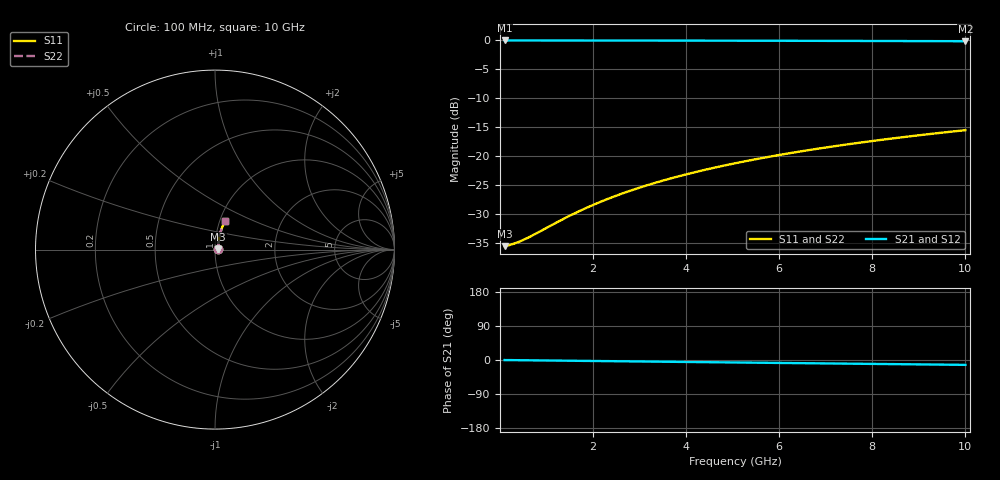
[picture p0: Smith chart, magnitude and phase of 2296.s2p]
# Hz S RI R 50.00
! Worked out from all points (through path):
!   100 points, 100 MHz to 10 GHz, reference 50 ohm
!   highest |S21| = -0.15 dB at 100 MHz (marker M1); lowest = -0.3 dB at 10 GHz (marker M2)
!   group delay of S21, straight-line fit = 3.57 ps
!   lowest |S11| = -35.6 dB at 100 MHz (marker M3), VSWR 1.03, Z = 51.7 + j0.17 ohm
!   |S11| at or under -10 dB: start of sweep to end of sweep
!   |S22| runs from -35.6 to -15.6 dB; largest |S21 - S12| = 0
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1e8  0.0166 0.00164  0.9834 -0.00222  0.9834 -0.00222  0.0166 0.00164
2e8  0.0167 0.00328  0.9833 -0.00444  0.9833 -0.00444  0.0167 0.00328
3e8  0.0168 0.00492  0.9832 -0.00666  0.9832 -0.00666  0.0168 0.00492
4e8  0.0169 0.00656  0.9831 -0.00888  0.9831 -0.00888  0.0169 0.00656
5e8  0.017 0.0082  0.983 -0.0111  0.983 -0.0111  0.017 0.0082
7e8  0.0172 0.0115  0.9828 -0.0155  0.9828 -0.0155  0.0172 0.0115
1.4e9  0.0179 0.0229  0.982 -0.031  0.982 -0.031  0.0179 0.0229
1.8e9  0.0185 0.0295  0.9814 -0.0399  0.9814 -0.0399  0.0185 0.0295
2.2e9  0.0192 0.036  0.9807 -0.0487  0.9807 -0.0487  0.0192 0.036
2.6e9  0.0199 0.0425  0.9799 -0.0575  0.9799 -0.0575  0.0199 0.0425
3e9  0.0208 0.0489  0.979 -0.0663  0.979 -0.0663  0.0208 0.0489
3.4e9  0.0218 0.0554  0.978 -0.0751  0.978 -0.0751  0.0218 0.0554
3.8e9  0.0229 0.0618  0.9768 -0.0839  0.9768 -0.0839  0.0229 0.0618
4.2e9  0.0242 0.0683  0.9755 -0.0926  0.9755 -0.0926  0.0242 0.0683
4.6e9  0.0255 0.0746  0.9741 -0.1013  0.9741 -0.1013  0.0255 0.0746
5.1e9  0.0273 0.0826  0.9722 -0.1122  0.9722 -0.1122  0.0273 0.0826
5.9e9  0.0306 0.0952  0.9688 -0.1294  0.9688 -0.1294  0.0306 0.0952
6.7e9  0.0343 0.1076  0.9649 -0.1465  0.9649 -0.1465  0.0343 0.1076
7.5e9  0.0385 0.1199  0.9605 -0.1635  0.9605 -0.1635  0.0385 0.1199
8.4e9  0.0437 0.1335  0.9551 -0.1824  0.9551 -0.1824  0.0437 0.1335
9.2e9  0.0487 0.1454  0.9498 -0.1989  0.9498 -0.1989  0.0487 0.1454
1e10  0.0542 0.1571  0.9441 -0.2153  0.9441 -0.2153  0.0542 0.1571
